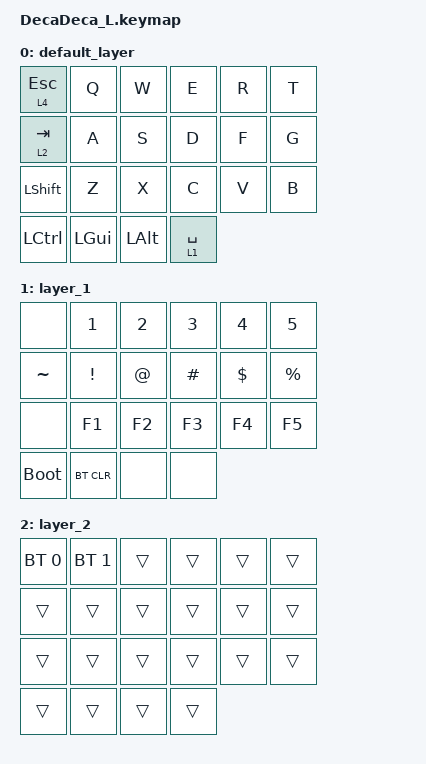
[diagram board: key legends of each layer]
#include <behaviors.dtsi>
#include <dt-bindings/zmk/bt.h>
#include <dt-bindings/zmk/keys.h>

/ {
    keymap {
        compatible = "zmk,keymap";

        default_layer {
            bindings = <
&lt 4 ESC  &kp Q     &kp W     &kp E        &kp R  &kp T
&lt 2 TAB  &kp A     &kp S     &kp D        &kp F  &kp G
&kp LSHFT  &kp Z     &kp X     &kp C        &kp V  &kp B
&kp LCTRL  &kp LGUI  &kp LALT  &lt 1 SPACE
            >;
        };

        layer_1 {
            bindings = <
&none        &kp N1           &kp NUMBER_2  &kp NUMBER_3  &kp NUMBER_4  &kp N5
&kp TILDE    &kp EXCLAMATION  &kp AT_SIGN   &kp POUND     &kp DOLLAR    &kp PERCENT
&none        &kp F1           &kp F2        &kp F3        &kp F4        &kp F5
&bootloader  &bt BT_CLR       &none         &none
            >;
        };

        layer_2 {
            bindings = <
&bt BT_SEL 0  &bt BT_SEL 1  &trans  &trans  &trans  &trans
&trans        &trans        &trans  &trans  &trans  &trans
&trans        &trans        &trans  &trans  &trans  &trans
&trans        &trans        &trans  &trans
            >;
        };
    };
};
